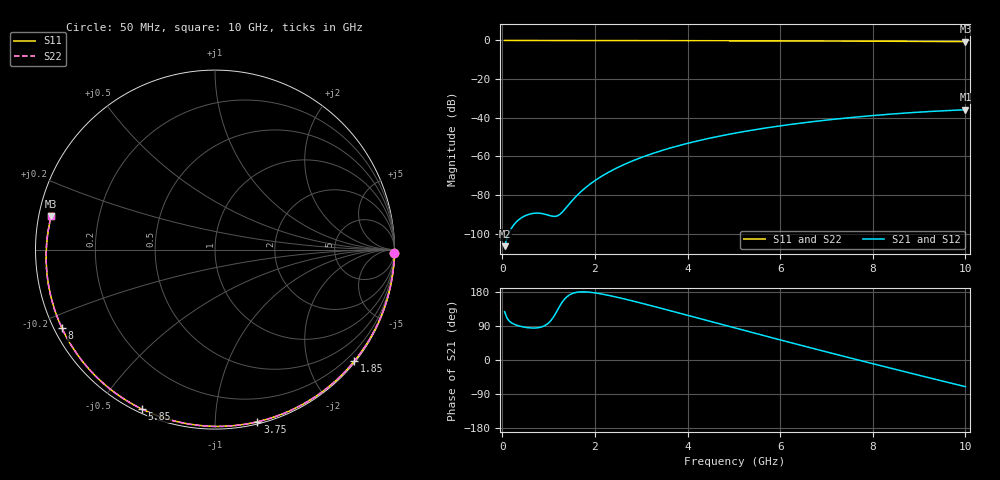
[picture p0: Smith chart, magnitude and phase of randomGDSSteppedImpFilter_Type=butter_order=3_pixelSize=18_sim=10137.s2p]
! freq	dB(S11)	phase(S11)	dB(S12)	phase(S12)
!  dB(S21)	phase(S21)	dB(S22)	phase(S22)
!S-par simulation data
#  GHz  S  DB  R 50
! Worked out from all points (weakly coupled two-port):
!   200 points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, 50 MHz to 10 GHz, reference 50 ohm
!   highest |S21| = -35.87 dB at 10 GHz (marker M1); lowest = -106.4 dB at 50 MHz (marker M2)
!   lowest |S11| = -0.6 dB at 10 GHz (marker M3), VSWR 28.29, Z = 1.79 + j5.05 ohm
!   |S11| at or under -10 dB: nowhere
!   |S22| runs from -0.6 to 0.0 dB; largest |S21 - S12| = 0
!   S11 on the Smith chart (normalised r, x): 50 MHz: open; 1.85 GHz: 0.03, -2.84; 3.75 GHz: 0.02, -1.28; 5.85 GHz: 0.02, -0.64; 8 GHz: 0.02, -0.24; 10 GHz: 0.04, +0.10
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0.05  -0.00 -1.1  -106.42 127.6  -106.42 127.6  -0.00 -1.1
0.4  -0.01 -8.5  -91.94 88.6  -91.94 88.6  -0.01 -8.5
0.8  -0.02 -17.0  -89.38 85.8  -89.38 85.8  -0.02 -17.0
1.6  -0.04 -33.6  -80.50 178.4  -80.50 178.4  -0.04 -33.6
1.65  -0.04 -34.7  -79.31 179.3  -79.31 179.3  -0.04 -34.7
1.75  -0.05 -36.7  -77.12 179.8  -77.12 179.8  -0.05 -36.7
1.85  -0.05 -38.7  -75.14 179.3  -75.14 179.3  -0.05 -38.8
2.15  -0.06 -44.8  -70.18 174.1  -70.18 174.1  -0.06 -44.9
2.5  -0.07 -51.9  -65.63 165.0  -65.63 165.0  -0.07 -51.9
2.9  -0.08 -59.8  -61.47 153.2  -61.47 153.2  -0.08 -59.8
3.4  -0.09 -69.5  -57.28 137.4  -57.28 137.4  -0.09 -69.5
3.75  -0.10 -76.2  -54.81 126.1  -54.81 126.1  -0.10 -76.2
4.4  -0.13 -88.3  -50.97 104.9  -50.97 104.9  -0.13 -88.4
5.05  -0.16 -100.2  -47.84 83.8  -47.84 83.8  -0.16 -100.3
5.85  -0.20 -114.6  -44.70 57.9  -44.70 57.9  -0.20 -114.6
6.7  -0.26 -129.6  -42.01 30.8  -42.01 30.8  -0.26 -129.7
7.35  -0.31 -141.1  -40.31 10.4  -40.31 10.4  -0.31 -141.2
8  -0.37 -152.8  -38.86 -9.7  -38.86 -9.7  -0.37 -152.9
8.35  -0.41 -159.2  -38.17 -20.5  -38.17 -20.5  -0.41 -159.3
9.2  -0.51 -175.3  -36.79 -46.4  -36.79 -46.4  -0.51 -175.4
9.6  -0.56 176.7  -36.28 -58.5  -36.28 -58.5  -0.56 176.6
10  -0.61 168.5  -35.87 -70.3  -35.87 -70.3  -0.62 168.4
